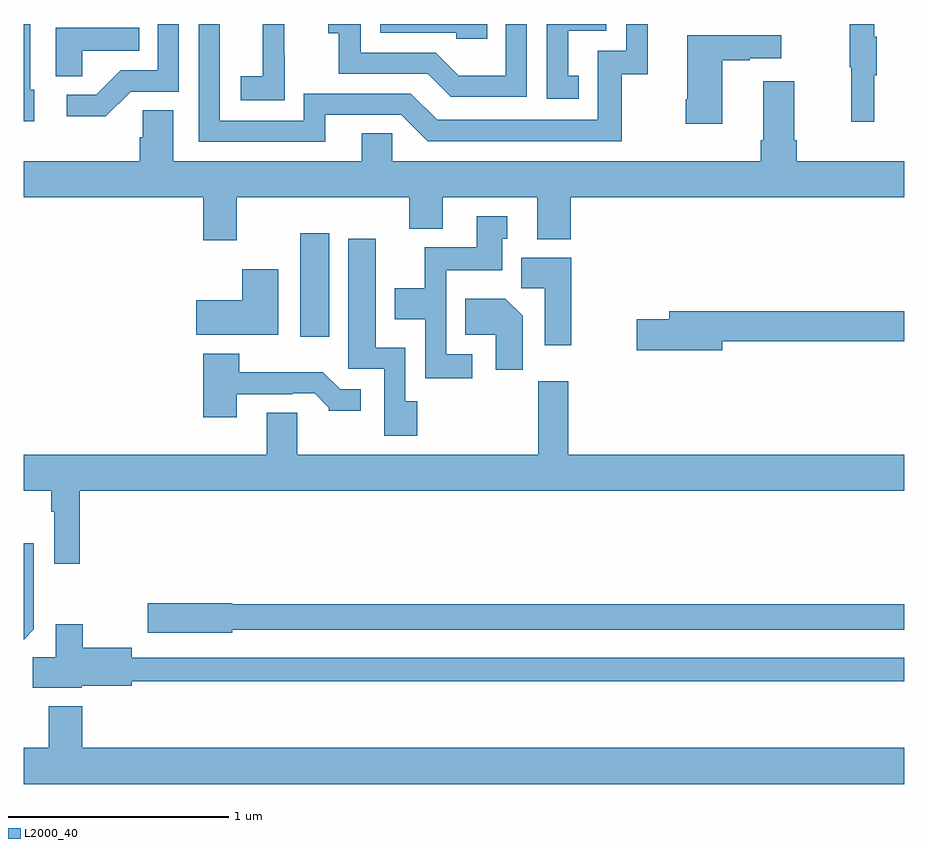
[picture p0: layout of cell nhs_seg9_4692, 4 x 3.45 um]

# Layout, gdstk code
import gdstk
lib = gdstk.Library(unit=1e-6, precision=1e-09)
def R(c, l, rs):  # rectangles x0, y0, x1, y1
    for r in rs: c.add(gdstk.rectangle(r[:2], r[2:], *l))
def P(c, l, *ps):  # polygons
    for p in ps: c.add(gdstk.Polygon(p, *l))
L2000_40 = (2000, 40)

nhs_seg9_4692 = lib.new_cell('nhs_seg9_4692')
R(nhs_seg9_4692, L2000_40, [(382.256,1237.08,382.387,1237.549)])
P(nhs_seg9_4692, L2000_40, [(384.863,1238.267),(384.874,1238.267),(384.874,1238.441),(384.863,1238.441),(384.863,1238.5),(384.753,1238.5),(384.753,1238.304),(384.76,1238.304),(384.76,1238.055),(384.863,1238.055)],
  [(383.286,1238.5),(383.19,1238.5),(383.19,1238.266),(382.976,1238.266),(382.872,1238.37),(382.53,1238.37),(382.53,1238.5),(382.383,1238.5),(382.383,1238.459),(382.432,1238.459),(382.432,1238.274),(382.835,1238.274),(382.94,1238.169),(383.286,1238.169)],
  [(383.105,1238.5),(382.62,1238.5),(382.62,1238.46),(382.965,1238.46),(382.965,1238.433),(383.105,1238.433)],
  [(382.185,1238.359),(382.184,1238.359),(382.184,1238.5),(382.086,1238.5),(382.086,1238.492),(382.085,1238.492),(382.085,1238.263),(381.987,1238.263),(381.987,1238.153),(382.185,1238.153)],
  [(383.522,1238.265),(383.473,1238.265),(383.473,1238.469),(383.646,1238.469),(383.646,1238.5),(383.376,1238.5),(383.376,1238.16),(383.522,1238.16)],
  [(381.049,1238.202),(381.03,1238.202),(381.03,1238.5),(381,1238.5),(381,1238.058),(381.049,1238.058)],
  [(381.486,1238.193),(381.705,1238.193),(381.705,1238.5),(381.609,1238.5),(381.609,1238.289),(381.44,1238.289),(381.329,1238.178),(381.195,1238.178),(381.195,1238.081),(381.373,1238.081)],
  [(382.369,1238.088),(382.716,1238.088),(382.836,1237.968),(383.716,1237.968),(383.716,1238.271),(383.834,1238.271),(383.834,1238.5),(383.736,1238.5),(383.736,1238.379),(383.607,1238.379),(383.607,1238.064),(382.878,1238.064),(382.758,1238.184),(382.272,1238.184),(382.272,1238.061),(381.891,1238.061),(381.891,1238.5),(381.795,1238.5),(381.795,1237.965),(382.369,1237.965)],
  [(381.267,1238.378),(381.524,1238.378),(381.524,1238.482),(381.146,1238.482),(381.146,1238.263),(381.267,1238.263)],
  [(384.172,1238.335),(384.299,1238.335),(384.299,1238.345),(384.442,1238.345),(384.442,1238.449),(384.014,1238.449),(384.014,1238.158),(384.007,1238.158),(384.007,1238.046),(384.172,1238.046)],
  [(381.967,1237.712),(382.751,1237.712),(382.751,1237.571),(382.903,1237.571),(382.903,1237.712),(383.333,1237.712),(383.333,1237.523),(383.486,1237.523),(383.486,1237.712),(385,1237.712),(385,1237.876),(384.512,1237.876),(384.512,1237.972),(384.499,1237.972),(384.499,1238.239),(384.359,1238.239),(384.359,1237.972),(384.347,1237.972),(384.347,1237.876),(382.674,1237.876),(382.674,1238.003),(382.535,1238.003),(382.535,1237.876),(381.679,1237.876),(381.679,1238.108),(381.54,1238.108),(381.54,1237.985),(381.527,1237.985),(381.527,1237.876),(381,1237.876),(381,1237.712),(381.815,1237.712),(381.815,1237.518),(381.967,1237.518)],
  [(383.038,1236.999),(382.92,1236.999),(382.92,1237.382),(383.173,1237.382),(383.173,1237.524),(383.197,1237.524),(383.197,1237.627),(383.057,1237.627),(383.057,1237.486),(382.822,1237.486),(382.822,1237.3),(382.685,1237.3),(382.685,1237.16),(382.824,1237.16),(382.824,1236.891),(383.038,1236.891)],
  [(382.787,1236.786),(382.734,1236.786),(382.734,1237.03),(382.6,1237.03),(382.6,1237.525),(382.475,1237.525),(382.475,1236.933),(382.638,1236.933),(382.638,1236.63),(382.787,1236.63)],
  [(383.488,1237.438),(383.261,1237.438),(383.261,1237.3),(383.366,1237.3),(383.366,1237.041),(383.488,1237.041)],
  [(382.156,1237.387),(381.992,1237.387),(381.992,1237.246),(381.783,1237.246),(381.783,1237.088),(382.156,1237.088)],
  [(383.266,1237.174),(383.188,1237.252),(383.005,1237.252),(383.005,1237.088),(383.144,1237.088),(383.144,1236.93),(383.266,1236.93)],
  [(384.172,1237.06),(385,1237.06),(385,1237.196),(383.933,1237.196),(383.933,1237.16),(383.784,1237.16),(383.784,1237.018),(384.172,1237.018)],
  [(381.967,1236.819),(382.223,1236.819),(382.223,1236.822),(382.322,1236.822),(382.386,1236.758),(382.386,1236.743),(382.531,1236.743),(382.531,1236.84),(382.437,1236.84),(382.359,1236.919),(381.98,1236.919),(381.98,1237.003),(381.815,1237.003),(381.815,1236.714),(381.967,1236.714)],
  [(381.254,1236.38),(385,1236.38),(385,1236.544),(383.474,1236.544),(383.474,1236.877),(383.338,1236.877),(383.338,1236.544),(382.243,1236.544),(382.243,1236.734),(382.103,1236.734),(382.103,1236.544),(381,1236.544),(381,1236.38),(381.126,1236.38),(381.126,1236.284),(381.138,1236.284),(381.138,1236.048),(381.254,1236.048)],
  [(381.046,1235.75),(381.046,1236.142),(381,1236.142),(381,1235.704)],
  [(381.948,1235.748),(385,1235.748),(385,1235.864),(381.948,1235.864),(381.948,1235.87),(381.564,1235.87),(381.564,1235.735),(381.948,1235.735)],
  [(381.264,1235.495),(381.49,1235.495),(381.49,1235.514),(385,1235.514),(385,1235.622),(381.49,1235.622),(381.49,1235.666),(381.268,1235.666),(381.268,1235.773),(381.146,1235.773),(381.146,1235.624),(381.041,1235.624),(381.041,1235.486),(381.264,1235.486)],
  [(385,1235.212),(381.266,1235.212),(381.266,1235.401),(381.113,1235.401),(381.113,1235.212),(381,1235.212),(381,1235.048),(385,1235.048)])

lib.write_gds('nhs_seg9_4692.gds')
